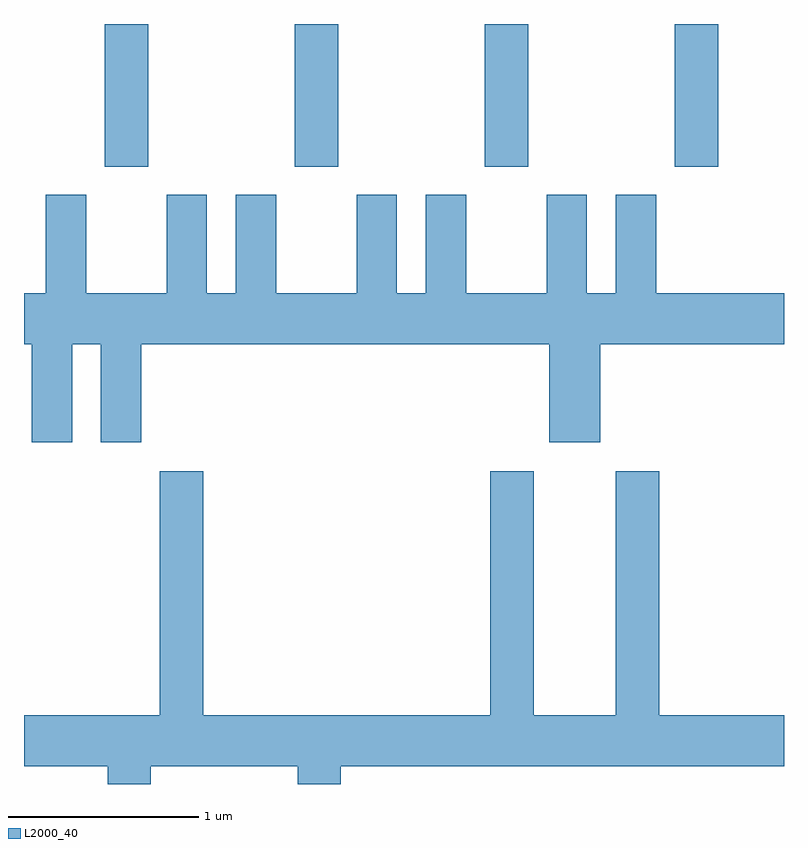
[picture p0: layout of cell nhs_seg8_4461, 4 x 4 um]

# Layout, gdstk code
import gdstk
lib = gdstk.Library(unit=1e-6, precision=1e-09)
def R(c, l, rs):  # rectangles x0, y0, x1, y1
    for r in rs: c.add(gdstk.rectangle(r[:2], r[2:], *l))
def A(c, l, x, y, w, h, nx, ny, dx, dy):  # array of equal rectangles
    R(c, l, [(x+i*dx, y+j*dy, x+i*dx+w, y+j*dy+h) for i in range(nx) for j in range(ny)])
def P(c, l, *ps):  # polygons
    for p in ps: c.add(gdstk.Polygon(p, *l))
L2000_40 = (2000, 40)

nhs_seg8_4461 = lib.new_cell('nhs_seg8_4461')
A(nhs_seg8_4461, L2000_40, 320.036, 1819.591, 0.228, 0.751, 4, 1, 1, 0)
P(nhs_seg8_4461, L2000_40, [(319.939,1819.444),(319.726,1819.444),(319.726,1818.924),(319.611,1818.924),(319.611,1818.656),(319.651,1818.656),(319.651,1818.141),(319.864,1818.141),(319.864,1818.656),(320.016,1818.656),(320.016,1818.141),(320.229,1818.141),(320.229,1818.656),(322.376,1818.656),(322.376,1818.141),(322.644,1818.141),(322.644,1818.656),(323.611,1818.656),(323.611,1818.924),(322.939,1818.924),(322.939,1819.444),(322.726,1819.444),(322.726,1818.924),(322.574,1818.924),(322.574,1819.444),(322.361,1819.444),(322.361,1818.924),(321.939,1818.924),(321.939,1819.444),(321.726,1819.444),(321.726,1818.924),(321.574,1818.924),(321.574,1819.444),(321.361,1819.444),(321.361,1818.924),(320.939,1818.924),(320.939,1819.444),(320.726,1819.444),(320.726,1818.924),(320.574,1818.924),(320.574,1819.444),(320.361,1819.444),(320.361,1818.924),(319.939,1818.924)],
  [(320.279,1816.436),(321.051,1816.436),(321.051,1816.342),(321.279,1816.342),(321.279,1816.436),(323.611,1816.436),(323.611,1816.704),(322.954,1816.704),(322.954,1817.989),(322.726,1817.989),(322.726,1816.704),(322.294,1816.704),(322.294,1817.989),(322.066,1817.989),(322.066,1816.704),(320.554,1816.704),(320.554,1817.989),(320.326,1817.989),(320.326,1816.704),(319.611,1816.704),(319.611,1816.436),(320.051,1816.436),(320.051,1816.342),(320.279,1816.342)])

lib.write_gds('nhs_seg8_4461.gds')
